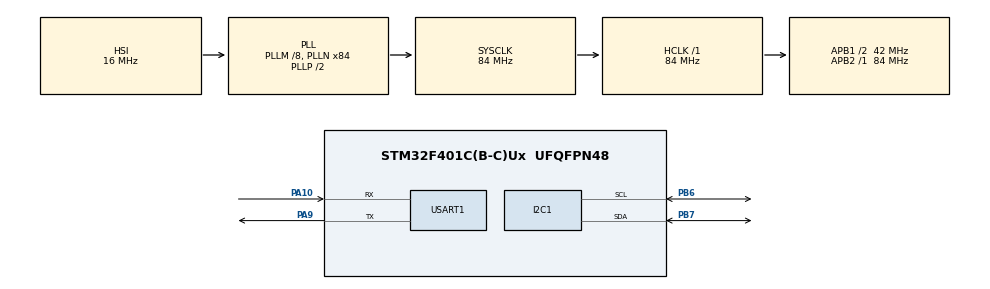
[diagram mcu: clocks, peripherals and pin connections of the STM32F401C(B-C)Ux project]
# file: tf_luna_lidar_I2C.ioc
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Mcu.Family=STM32F4
Mcu.Name=STM32F401C(B-C)Ux
Mcu.Package=UFQFPN48
NVIC.PriorityGroup=NVIC_PRIORITYGROUP_4
PA10.Mode=Asynchronous
PA10.Signal=USART1_RX
PA9.Mode=Asynchronous
PA9.Signal=USART1_TX
PB6.Mode=I2C
PB6.Signal=I2C1_SCL
PB7.Mode=I2C
PB7.Signal=I2C1_SDA
PH0\ -\ OSC_IN.Mode=HSE-External-Oscillator
PH0\ -\ OSC_IN.Signal=RCC_OSC_IN
PH1\ -\ OSC_OUT.Mode=HSE-External-Oscillator
PH1\ -\ OSC_OUT.Signal=RCC_OSC_OUT
ProjectManager.HeapSize=0x200
ProjectManager.StackSize=0x400
ProjectManager.TargetToolchain=STM32CubeIDE
RCC.48MHZClocksFreq_Value=42000000
RCC.AHBFreq_Value=84000000
RCC.APB1CLKDivider=RCC_HCLK_DIV2
RCC.APB1Freq_Value=42000000
RCC.APB1TimFreq_Value=84000000
RCC.APB2Freq_Value=84000000
RCC.APB2TimFreq_Value=84000000
RCC.CortexFreq_Value=84000000
RCC.HCLKFreq_Value=84000000
RCC.HSE_VALUE=25000000
RCC.HSI_VALUE=16000000
RCC.LSE_VALUE=32768
RCC.PLLM=8
RCC.PLLN=84
RCC.SYSCLKFreq_VALUE=84000000
RCC.SYSCLKSource=RCC_SYSCLKSOURCE_PLLCLK
RCC.VCOOutputFreq_Value=168000000
USART1.VirtualMode=VM_ASYNC
board=custom

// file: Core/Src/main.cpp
/* USER CODE BEGIN Header */
/**
  ******************************************************************************
  * @file           : main.c
  * @brief          : Main program body
  ******************************************************************************
  * @attention
  *
  * Copyright (c) 2026 STMicroelectronics.
  * All rights reserved.
  *
  * This software is licensed under terms that can be found in the LICENSE file
  * in the root directory of this software component.
  * If no LICENSE file comes with this software, it is provided AS-IS.
  *
  ******************************************************************************
  */
/* USER CODE END Header */
#include "main.h"

/* USER CODE BEGIN Includes */
#include<TFLI2Cstm.h>
#include<stdio.h>
/* USER CODE END Includes */

I2C_HandleTypeDef hi2c1;

UART_HandleTypeDef huart1;

void SystemClock_Config(void);
static void MX_GPIO_Init(void);
static void MX_I2C1_Init(void);
static void MX_USART1_UART_Init(void);

/* USER CODE BEGIN 0 */

// Send printf to uart1
int _write(int fd, char* ptr, int len) {
  HAL_StatusTypeDef hstatus;

  if (fd == 1 || fd == 2) {
    hstatus = HAL_UART_Transmit(&huart1, (uint8_t *) ptr, len, HAL_MAX_DELAY);
    if (hstatus == HAL_OK)
      return len;
    else
      return -1;
  }
  return -1;
}
/* USER CODE END 0 */

int main(void)
{

  /* MCU Configuration--------------------------------------------------------*/

  /* Reset of all peripherals, Initializes the Flash interface and the Systick. */
  HAL_Init();

  /* Configure the system clock */
  SystemClock_Config();

  /* Initialize all configured peripherals */
  MX_GPIO_Init();
  MX_I2C1_Init();
  MX_USART1_UART_Init();
  /* USER CODE BEGIN 2 */
  TFLI2C lidar;
  int16_t distance =0;
  /* USER CODE END 2 */

  /* Infinite loop */
  /* USER CODE BEGIN WHILE */
  while (1)
  {
//	  if (lidar.getData(distance, 0x11))
//	          {
//	              printf("Distance: %d cm\r\n", distance);
//	          }
//	          else
//	          {
//	              printf("Read failed\r\n");
//	          }
	  	  	  printf("hello\n");
	          HAL_Delay(50);
    /* USER CODE END WHILE */

  }
}

void SystemClock_Config(void)
{
  RCC_OscInitTypeDef RCC_OscInitStruct = {0};
  RCC_ClkInitTypeDef RCC_ClkInitStruct = {0};

  /** Configure the main internal regulator output voltage
  */
  __HAL_RCC_PWR_CLK_ENABLE();
  __HAL_PWR_VOLTAGESCALING_CONFIG(PWR_REGULATOR_VOLTAGE_SCALE2);

  /** Initializes the RCC Oscillators according to the specified parameters
  * in the RCC_OscInitTypeDef structure.
  */
  RCC_OscInitStruct.OscillatorType = RCC_OSCILLATORTYPE_HSI;
  RCC_OscInitStruct.HSIState = RCC_HSI_ON;
  RCC_OscInitStruct.HSICalibrationValue = RCC_HSICALIBRATION_DEFAULT;
  RCC_OscInitStruct.PLL.PLLState = RCC_PLL_ON;
  RCC_OscInitStruct.PLL.PLLSource = RCC_PLLSOURCE_HSI;
  RCC_OscInitStruct.PLL.PLLM = 8;
  RCC_OscInitStruct.PLL.PLLN = 84;
  RCC_OscInitStruct.PLL.PLLP = RCC_PLLP_DIV2;
  RCC_OscInitStruct.PLL.PLLQ = 4;
  if (HAL_RCC_OscConfig(&RCC_OscInitStruct) != HAL_OK)
  {
    Error_Handler();
  }

  /** Initializes the CPU, AHB and APB buses clocks
  */
  RCC_ClkInitStruct.ClockType = RCC_CLOCKTYPE_HCLK|RCC_CLOCKTYPE_SYSCLK
                              |RCC_CLOCKTYPE_PCLK1|RCC_CLOCKTYPE_PCLK2;
  RCC_ClkInitStruct.SYSCLKSource = RCC_SYSCLKSOURCE_PLLCLK;
  RCC_ClkInitStruct.AHBCLKDivider = RCC_SYSCLK_DIV1;
  RCC_ClkInitStruct.APB1CLKDivider = RCC_HCLK_DIV2;
  RCC_ClkInitStruct.APB2CLKDivider = RCC_HCLK_DIV1;

  if (HAL_RCC_ClockConfig(&RCC_ClkInitStruct, FLASH_LATENCY_2) != HAL_OK)
  {
    Error_Handler();
  }
}

static void MX_I2C1_Init(void)
{

  hi2c1.Instance = I2C1;
  hi2c1.Init.ClockSpeed = 100000;
  hi2c1.Init.DutyCycle = I2C_DUTYCYCLE_2;
  hi2c1.Init.OwnAddress1 = 0;
  hi2c1.Init.AddressingMode = I2C_ADDRESSINGMODE_7BIT;
  hi2c1.Init.DualAddressMode = I2C_DUALADDRESS_DISABLE;
  hi2c1.Init.OwnAddress2 = 0;
  hi2c1.Init.GeneralCallMode = I2C_GENERALCALL_DISABLE;
  hi2c1.Init.NoStretchMode = I2C_NOSTRETCH_DISABLE;
  if (HAL_I2C_Init(&hi2c1) != HAL_OK)
  {
    Error_Handler();
  }

}

static void MX_USART1_UART_Init(void)
{

  huart1.Instance = USART1;
  huart1.Init.BaudRate = 115200;
  huart1.Init.WordLength = UART_WORDLENGTH_8B;
  huart1.Init.StopBits = UART_STOPBITS_1;
  huart1.Init.Parity = UART_PARITY_NONE;
  huart1.Init.Mode = UART_MODE_TX_RX;
  huart1.Init.HwFlowCtl = UART_HWCONTROL_NONE;
  huart1.Init.OverSampling = UART_OVERSAMPLING_16;
  if (HAL_UART_Init(&huart1) != HAL_OK)
  {
    Error_Handler();
  }

}

static void MX_GPIO_Init(void)
{

  /* GPIO Ports Clock Enable */
  __HAL_RCC_GPIOH_CLK_ENABLE();
  __HAL_RCC_GPIOA_CLK_ENABLE();
  __HAL_RCC_GPIOB_CLK_ENABLE();

}

void Error_Handler(void)
{
  __disable_irq();
  while (1)
  {
  }
}
